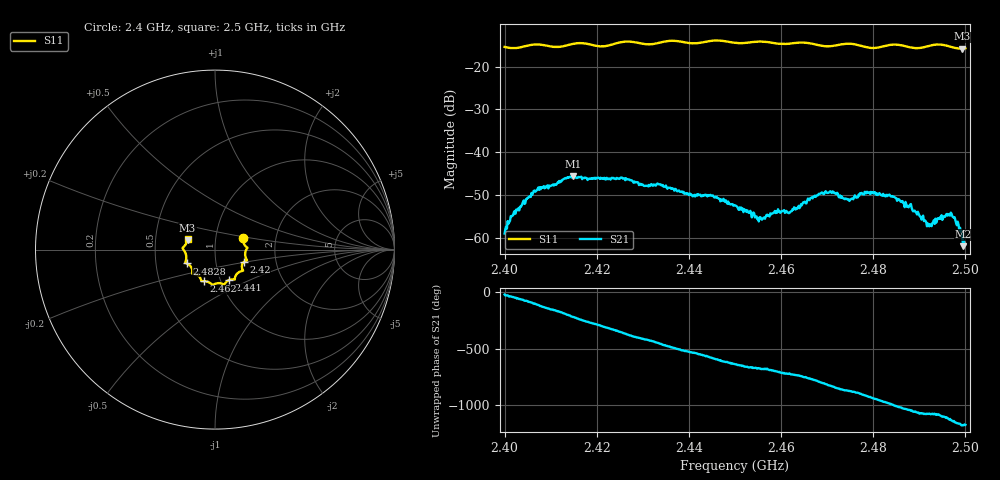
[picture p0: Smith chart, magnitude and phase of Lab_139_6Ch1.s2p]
# Hz S RI R 50
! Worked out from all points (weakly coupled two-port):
!   601 points, 2.4 GHz to 2.5 GHz, reference 50 ohm
!   highest |S21| = -45.58 dB at 2.4148 GHz (marker M1); lowest = -61.9 dB at 2.4995 GHz (marker M2)
!   lowest |S11| = -15.8 dB at 2.4993 GHz (marker M3), VSWR 1.39, Z = 36.5 + j3.86 ohm
!   |S11| at or under -10 dB: start of sweep to end of sweep
!   S12 and S22 are empty: the file has one direction only
!   S11 on the Smith chart (normalised r, x): 2.4 GHz: 1.36, +0.18; 2.42 GHz: 1.36, -0.20; 2.441 GHz: 1.10, -0.39; 2.462 GHz: 0.84, -0.30; 2.4828 GHz: 0.72, -0.12; 2.5 GHz: 0.73, +0.09
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2.4e9  0.1574 0.0629  0.00104 -0.000449  0 0  0 0
2.401833e9  0.159 0.0408  0.0013 -0.0013  0 0  0 0
2.406833e9  0.1807 0.0104  -0.00112 -0.00338  0 0  0 0
2.414833e9  0.1757 -0.0548  -0.00393 0.0035  0 0  0 0
2.416667e9  0.178 -0.06  -0.00204 0.00478  0 0  0 0
2.42e9  0.1595 -0.0697  0.00143 0.00476  0 0  0 0
2.433333e9  0.1124 -0.1512  -7.02e-05 -0.00427  0 0  0 0
2.441e9  0.0783 -0.1694  -0.00313 -0.000175  0 0  0 0
2.45e9  0.0284 -0.1871  0.000358 0.00239  0 0  0 0
2.455333e9  -0.0129 -0.1955  0.00128 0.00119  0 0  0 0
2.462e9  -0.0603 -0.1756  0.00202 -0.000181  0 0  0 0
2.466667e9  -0.0779 -0.1681  0.00192 -0.00231  0 0  0 0
2.470833e9  -0.1029 -0.1392  -0.00117 -0.00324  0 0  0 0
2.474667e9  -0.1262 -0.1351  -0.00256 -0.00121  0 0  0 0
2.478667e9  -0.128 -0.1081  -0.00328 0.00115  0 0  0 0
2.482833e9  -0.1576 -0.0774  -0.000749 0.00311  0 0  0 0
2.483333e9  -0.1606 -0.0761  -0.000395 0.00314  0 0  0 0
2.492167e9  -0.1749 -0.000759  0.00137 0.000121  0 0  0 0
2.497167e9  -0.1666 0.0243  0.000896 -0.00156  0 0  0 0
2.499333e9  -0.1532 0.0514  -0.000166 -0.00102  0 0  0 0
2.4995e9  -0.1528 0.0538  -6.68e-05 -0.000804  0 0  0 0
2.5e9  -0.1517 0.0612  -4.82e-05 -0.00084  0 0  0 0
